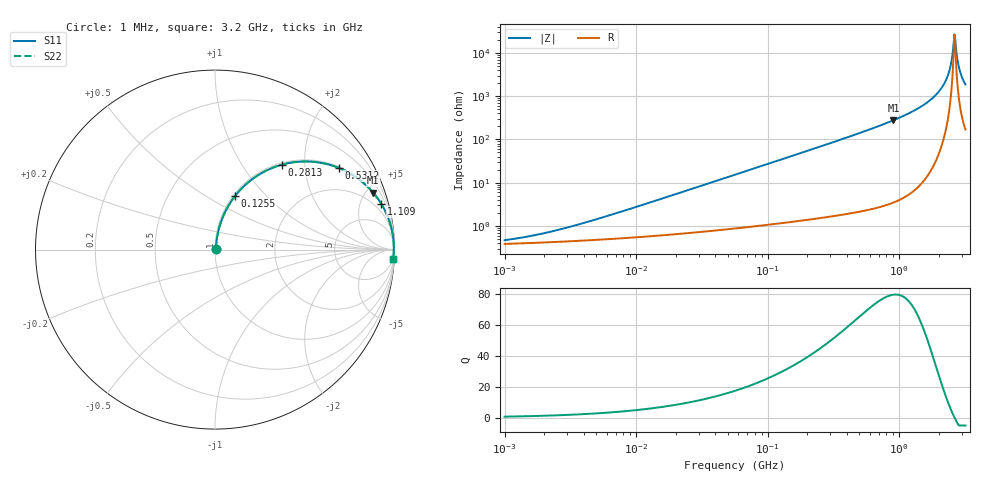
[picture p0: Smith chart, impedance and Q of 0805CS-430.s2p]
# MHz S MA R 50
!Freq  MagS11  AngS11  MagS21  AngS21  MagS12  AngS12  MagS22  AngS22
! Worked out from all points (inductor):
!   801 points, 1 MHz to 3.2 GHz, reference 50 ohm
!   read as one part in series: L = 43 nH near 5.391 MHz
!   highest Q = 79.8 at 906.7 MHz (marker M1), where L = 48.7 nH
!   self-resonance near 2.642 GHz
!   S11 on the Smith chart (normalised r, x): 1 MHz: 1.01, +0.01; 125.5 MHz: 1.02, +0.68; 281.3 MHz: 1.03, +1.54; 531.2 MHz: 1.04, +2.99; 1.109 GHz: 1.09, +7.27; 3.2 GHz: 4, -37
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1  0.004686 34.9  0.9962 -0.2  0.9962 -0.2  0.004686 34.9
3.864672  0.01135 65.7  0.9954 -0.6  0.9954 -0.6  0.01135 65.7
14.78577  0.04012 79.2  0.9933 -2.3  0.9933 -2.3  0.04012 79.2
56.56854  0.1501 78.1  0.9801 -8.6  0.9801 -8.6  0.1501 78.1
125.5187  0.3187 69.5  0.9371 -18.6  0.9371 -18.6  0.3187 69.5
218.6189  0.5059 58.2  0.8505 -30.4  0.8505 -30.4  0.5059 58.2
281.3349  0.6035 51.7  0.7849 -37.1  0.7849 -37.1  0.6035 51.7
531.1952  0.8256 33.5  0.5521 -55.6  0.5521 -55.6  0.8256 33.5
836.4092  0.925 21.6  0.3685 -67.7  0.3685 -67.7  0.925 21.6
906.7139  0.937 19.7  0.3377 -69.5  0.3377 -69.5  0.937 19.7
1109.428  0.961 15.3  0.2643 -73.9  0.2643 -73.9  0.961 15.3
1627.772  0.9875 8.0  0.1397 -80.9  0.1397 -80.9  0.9875 8.0
2073.711  0.9948 3.9  0.06876 -83.7  0.06876 -83.7  0.9948 3.9
2364.323  0.9963 1.8  0.03184 -82.4  0.03184 -82.4  0.9963 1.8
2461.686  0.9964 1.2  0.02068 -79.5  0.02068 -79.5  0.9964 1.2
2563.058  0.9964 0.5  0.009807 -68.4  0.009807 -68.4  0.9964 0.5
2641.817  0.9963 0.0  0.00373 -11.2  0.00373 -11.2  0.9963 0.0
2722.996  0.9962 -0.4  0.008587 63.2  0.008587 63.2  0.9962 -0.4
2835.128  0.9958 -1.1  0.01935 76.9  0.01935 76.9  0.9958 -1.1
2922.248  0.9954 -1.6  0.02769 79.7  0.02769 79.7  0.9954 -1.6
3073.436  0.9946 -2.4  0.04171 81.4  0.04171 81.4  0.9946 -2.4
3200  0.9938 -3.0  0.05301 81.8  0.05301 81.8  0.9938 -3.0
